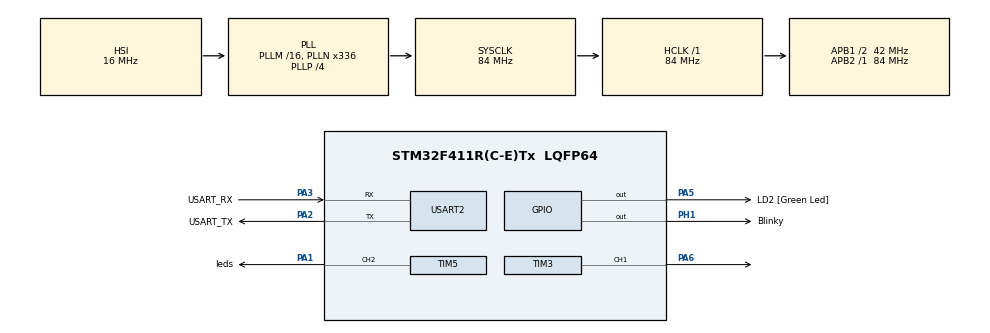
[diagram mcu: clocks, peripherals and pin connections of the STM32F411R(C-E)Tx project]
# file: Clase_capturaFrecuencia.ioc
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Dma.Request0=TIM5_CH2
Dma.TIM5_CH2.0.Direction=DMA_PERIPH_TO_MEMORY
Dma.TIM5_CH2.0.FIFOMode=DMA_FIFOMODE_DISABLE
Dma.TIM5_CH2.0.Instance=DMA1_Stream4
Dma.TIM5_CH2.0.MemDataAlignment=DMA_MDATAALIGN_WORD
Dma.TIM5_CH2.0.MemInc=DMA_MINC_ENABLE
Dma.TIM5_CH2.0.Mode=DMA_NORMAL
Dma.TIM5_CH2.0.PeriphDataAlignment=DMA_PDATAALIGN_WORD
Dma.TIM5_CH2.0.PeriphInc=DMA_PINC_DISABLE
Dma.TIM5_CH2.0.Priority=DMA_PRIORITY_LOW
Mcu.Family=STM32F4
Mcu.Name=STM32F411R(C-E)Tx
Mcu.Package=LQFP64
NVIC.DMA1_Stream4_IRQn=true\:0\:0\:false\:false\:true\:false\:true\:true
NVIC.PriorityGroup=NVIC_PRIORITYGROUP_0
NVIC.TIM2_IRQn=true\:0\:0\:false\:false\:true\:true\:true\:true
NVIC.TIM3_IRQn=true\:0\:0\:false\:false\:true\:true\:true\:true
PA1.GPIO_Label=leds
PA1.Signal=S_TIM5_CH2
PA13.GPIO_Label=TMS
PA13.Mode=Serial_Wire
PA13.Signal=SYS_JTMS-SWDIO
PA14.GPIO_Label=TCK
PA14.Mode=Serial_Wire
PA14.Signal=SYS_JTCK-SWCLK
PA2.GPIO_Label=USART_TX
PA2.Mode=Asynchronous
PA2.Signal=USART2_TX
PA3.GPIO_Label=USART_RX
PA3.Mode=Asynchronous
PA3.Signal=USART2_RX
PA5.GPIO_Label=LD2 [Green Led]
PA5.Signal=GPIO_Output
PA6.Signal=S_TIM3_CH1
PB3.GPIO_Label=SWO
PB3.Signal=SYS_JTDO-SWO
PH1\ -\ OSC_OUT.GPIO_Label=Blinky
PH1\ -\ OSC_OUT.Signal=GPIO_Output
ProjectManager.HeapSize=0x200
ProjectManager.StackSize=0x400
ProjectManager.TargetToolchain=STM32CubeIDE
RCC.48MHZClocksFreq_Value=84000000
RCC.AHBFreq_Value=84000000
RCC.APB1CLKDivider=RCC_HCLK_DIV2
RCC.APB1Freq_Value=42000000
RCC.APB1TimFreq_Value=84000000
RCC.APB2Freq_Value=84000000
RCC.APB2TimFreq_Value=84000000
RCC.CortexFreq_Value=84000000
RCC.FLatency-AdvancedSettings=FLASH_LATENCY_2
RCC.HCLKFreq_Value=84000000
RCC.HSE_VALUE=8000000
RCC.HSI_VALUE=16000000
RCC.LSE_VALUE=32768
RCC.PLLN=336
RCC.PLLP=RCC_PLLP_DIV4
RCC.SYSCLKFreq_VALUE=84000000
RCC.SYSCLKSource=RCC_SYSCLKSOURCE_PLLCLK
RCC.VCOOutputFreq_Value=336000000
SH.S_TIM3_CH1.0=TIM3_CH1,PWM Generation1 CH1
SH.S_TIM5_CH2.0=TIM5_CH2,PWM Generation2 CH2
TIM2.Period=2500
TIM2.Prescaler=1000
TIM3.Channel-PWM\ Generation1\ CH1=TIM_CHANNEL_1
TIM5.Channel-PWM\ Generation2\ CH2=TIM_CHANNEL_2
TIM5.Period=45
TIM5.Prescaler=0
TIM5.Pulse-PWM\ Generation2\ CH2=40
USART2.VirtualMode=VM_ASYNC
VP_TIM2_VS_ClockSourceINT.Mode=Internal
VP_TIM3_VS_ClockSourceINT.Mode=Internal
VP_TIM5_VS_ClockSourceINT.Mode=Internal
board=NUCLEO-F411RE

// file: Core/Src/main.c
/* USER CODE BEGIN Header */
/**
  ******************************************************************************
  * @file           : main.c
  * @brief          : Main program body
  ******************************************************************************
  * @attention
  *
  * Copyright (c) 2025 STMicroelectronics.
  * All rights reserved.
  *
  * This software is licensed under terms that can be found in the LICENSE file
  * in the root directory of this software component.
  * If no LICENSE file comes with this software, it is provided AS-IS.
  *
  ******************************************************************************
  */
/* USER CODE END Header */
#include "main.h"

/* USER CODE BEGIN Includes */
#include "stdio.h"
#include "string.h"

/* USER CODE END Includes */

TIM_HandleTypeDef htim2;
TIM_HandleTypeDef htim3;
TIM_HandleTypeDef htim5;
DMA_HandleTypeDef hdma_tim5_ch2;

UART_HandleTypeDef huart2;

/* USER CODE BEGIN PV */
#define NUM_LEDS        60
#define BITS_PER_LED    24
#define RESET_SLOTS     50
#define LED_BUFFER_SIZE ((NUM_LEDS * BITS_PER_LED) + RESET_SLOTS)

#define WS2812_FREQ     800000
#define TIMER_FREQ      72000000
#define TIM_PERIOD      (TIMER_FREQ / WS2812_FREQ)

#define T1H             (TIM_PERIOD * 2 / 3)  // Lógica '1'
#define T0H             (TIM_PERIOD * 1 / 3)  // Lógica '0'

extern TIM_HandleTypeDef htim5;

uint16_t pwmData[LED_BUFFER_SIZE];

/* USER CODE END PV */

void SystemClock_Config(void);
static void MX_GPIO_Init(void);
static void MX_DMA_Init(void);
static void MX_USART2_UART_Init(void);
static void MX_TIM2_Init(void);
static void MX_TIM3_Init(void);
static void MX_TIM5_Init(void);
/* USER CODE BEGIN PFP */
void set_led_color(uint8_t r, uint8_t g, uint8_t b, int led_index);
void show_leds(void);

/* USER CODE END PFP */

int main(void)
{

  /* MCU Configuration--------------------------------------------------------*/

  /* Reset of all peripherals, Initializes the Flash interface and the Systick. */
  HAL_Init();

  /* Configure the system clock */
  SystemClock_Config();

  /* Initialize all configured peripherals */
  MX_GPIO_Init();
  MX_DMA_Init();
  MX_USART2_UART_Init();
  MX_TIM2_Init();
  MX_TIM3_Init();
  MX_TIM5_Init();
  /* USER CODE BEGIN 2 */
  HAL_TIM_Base_Start_IT(&htim2);
  HAL_TIM_Base_Start(&htim5);
  HAL_TIM_PWM_Start(&htim5, TIM_CHANNEL_2);

  // Ejemplo: alternar colores en 60 LEDs
    for (int i = 0; i < NUM_LEDS; i++) {
        if (i % 3 == 0)
            set_led_color(255, 0, 0, i);  // Rojo
        else if (i % 3 == 1)
            set_led_color(0, 255, 0, i);  // Verde
        else
            set_led_color(0, 0, 255, i);  // Azul
    }

    show_leds();
  /* USER CODE END 2 */

  /* Infinite loop */
  /* USER CODE BEGIN WHILE */
  while (1)
  {
	  HAL_Delay(1000);
    /* USER CODE END WHILE */

  }
}

void SystemClock_Config(void)
{
  RCC_OscInitTypeDef RCC_OscInitStruct = {0};
  RCC_ClkInitTypeDef RCC_ClkInitStruct = {0};

  /** Configure the main internal regulator output voltage
  */
  __HAL_RCC_PWR_CLK_ENABLE();
  __HAL_PWR_VOLTAGESCALING_CONFIG(PWR_REGULATOR_VOLTAGE_SCALE1);

  /** Initializes the RCC Oscillators according to the specified parameters
  * in the RCC_OscInitTypeDef structure.
  */
  RCC_OscInitStruct.OscillatorType = RCC_OSCILLATORTYPE_HSI;
  RCC_OscInitStruct.HSIState = RCC_HSI_ON;
  RCC_OscInitStruct.HSICalibrationValue = RCC_HSICALIBRATION_DEFAULT;
  RCC_OscInitStruct.PLL.PLLState = RCC_PLL_ON;
  RCC_OscInitStruct.PLL.PLLSource = RCC_PLLSOURCE_HSI;
  RCC_OscInitStruct.PLL.PLLM = 16;
  RCC_OscInitStruct.PLL.PLLN = 336;
  RCC_OscInitStruct.PLL.PLLP = RCC_PLLP_DIV4;
  RCC_OscInitStruct.PLL.PLLQ = 4;
  if (HAL_RCC_OscConfig(&RCC_OscInitStruct) != HAL_OK)
  {
    Error_Handler();
  }

  /** Initializes the CPU, AHB and APB buses clocks
  */
  RCC_ClkInitStruct.ClockType = RCC_CLOCKTYPE_HCLK|RCC_CLOCKTYPE_SYSCLK
                              |RCC_CLOCKTYPE_PCLK1|RCC_CLOCKTYPE_PCLK2;
  RCC_ClkInitStruct.SYSCLKSource = RCC_SYSCLKSOURCE_PLLCLK;
  RCC_ClkInitStruct.AHBCLKDivider = RCC_SYSCLK_DIV1;
  RCC_ClkInitStruct.APB1CLKDivider = RCC_HCLK_DIV2;
  RCC_ClkInitStruct.APB2CLKDivider = RCC_HCLK_DIV1;

  if (HAL_RCC_ClockConfig(&RCC_ClkInitStruct, FLASH_LATENCY_2) != HAL_OK)
  {
    Error_Handler();
  }
}

static void MX_TIM2_Init(void)
{

  TIM_ClockConfigTypeDef sClockSourceConfig = {0};
  TIM_MasterConfigTypeDef sMasterConfig = {0};

  htim2.Instance = TIM2;
  htim2.Init.Prescaler = 1000;
  htim2.Init.CounterMode = TIM_COUNTERMODE_UP;
  htim2.Init.Period = 2500;
  htim2.Init.ClockDivision = TIM_CLOCKDIVISION_DIV1;
  htim2.Init.AutoReloadPreload = TIM_AUTORELOAD_PRELOAD_DISABLE;
  if (HAL_TIM_Base_Init(&htim2) != HAL_OK)
  {
    Error_Handler();
  }
  sClockSourceConfig.ClockSource = TIM_CLOCKSOURCE_INTERNAL;
  if (HAL_TIM_ConfigClockSource(&htim2, &sClockSourceConfig) != HAL_OK)
  {
    Error_Handler();
  }
  sMasterConfig.MasterOutputTrigger = TIM_TRGO_RESET;
  sMasterConfig.MasterSlaveMode = TIM_MASTERSLAVEMODE_DISABLE;
  if (HAL_TIMEx_MasterConfigSynchronization(&htim2, &sMasterConfig) != HAL_OK)
  {
    Error_Handler();
  }

}

static void MX_TIM3_Init(void)
{

  TIM_ClockConfigTypeDef sClockSourceConfig = {0};
  TIM_MasterConfigTypeDef sMasterConfig = {0};
  TIM_OC_InitTypeDef sConfigOC = {0};

  htim3.Instance = TIM3;
  htim3.Init.Prescaler = 0;
  htim3.Init.CounterMode = TIM_COUNTERMODE_UP;
  htim3.Init.Period = 65535;
  htim3.Init.ClockDivision = TIM_CLOCKDIVISION_DIV1;
  htim3.Init.AutoReloadPreload = TIM_AUTORELOAD_PRELOAD_DISABLE;
  if (HAL_TIM_Base_Init(&htim3) != HAL_OK)
  {
    Error_Handler();
  }
  sClockSourceConfig.ClockSource = TIM_CLOCKSOURCE_INTERNAL;
  if (HAL_TIM_ConfigClockSource(&htim3, &sClockSourceConfig) != HAL_OK)
  {
    Error_Handler();
  }
  if (HAL_TIM_PWM_Init(&htim3) != HAL_OK)
  {
    Error_Handler();
  }
  sMasterConfig.MasterOutputTrigger = TIM_TRGO_RESET;
  sMasterConfig.MasterSlaveMode = TIM_MASTERSLAVEMODE_DISABLE;
  if (HAL_TIMEx_MasterConfigSynchronization(&htim3, &sMasterConfig) != HAL_OK)
  {
    Error_Handler();
  }
  sConfigOC.OCMode = TIM_OCMODE_PWM1;
  sConfigOC.Pulse = 0;
  sConfigOC.OCPolarity = TIM_OCPOLARITY_HIGH;
  sConfigOC.OCFastMode = TIM_OCFAST_DISABLE;
  if (HAL_TIM_PWM_ConfigChannel(&htim3, &sConfigOC, TIM_CHANNEL_1) != HAL_OK)
  {
    Error_Handler();
  }
  HAL_TIM_MspPostInit(&htim3);

}

static void MX_TIM5_Init(void)
{

  TIM_ClockConfigTypeDef sClockSourceConfig = {0};
  TIM_MasterConfigTypeDef sMasterConfig = {0};
  TIM_OC_InitTypeDef sConfigOC = {0};

  htim5.Instance = TIM5;
  htim5.Init.Prescaler = 0;
  htim5.Init.CounterMode = TIM_COUNTERMODE_UP;
  htim5.Init.Period = 45;
  htim5.Init.ClockDivision = TIM_CLOCKDIVISION_DIV1;
  htim5.Init.AutoReloadPreload = TIM_AUTORELOAD_PRELOAD_DISABLE;
  if (HAL_TIM_Base_Init(&htim5) != HAL_OK)
  {
    Error_Handler();
  }
  sClockSourceConfig.ClockSource = TIM_CLOCKSOURCE_INTERNAL;
  if (HAL_TIM_ConfigClockSource(&htim5, &sClockSourceConfig) != HAL_OK)
  {
    Error_Handler();
  }
  if (HAL_TIM_PWM_Init(&htim5) != HAL_OK)
  {
    Error_Handler();
  }
  sMasterConfig.MasterOutputTrigger = TIM_TRGO_RESET;
  sMasterConfig.MasterSlaveMode = TIM_MASTERSLAVEMODE_DISABLE;
  if (HAL_TIMEx_MasterConfigSynchronization(&htim5, &sMasterConfig) != HAL_OK)
  {
    Error_Handler();
  }
  sConfigOC.OCMode = TIM_OCMODE_PWM1;
  sConfigOC.Pulse = 40;
  sConfigOC.OCPolarity = TIM_OCPOLARITY_HIGH;
  sConfigOC.OCFastMode = TIM_OCFAST_DISABLE;
  if (HAL_TIM_PWM_ConfigChannel(&htim5, &sConfigOC, TIM_CHANNEL_2) != HAL_OK)
  {
    Error_Handler();
  }
  HAL_TIM_MspPostInit(&htim5);

}

static void MX_USART2_UART_Init(void)
{

  huart2.Instance = USART2;
  huart2.Init.BaudRate = 115200;
  huart2.Init.WordLength = UART_WORDLENGTH_8B;
  huart2.Init.StopBits = UART_STOPBITS_1;
  huart2.Init.Parity = UART_PARITY_NONE;
  huart2.Init.Mode = UART_MODE_TX_RX;
  huart2.Init.HwFlowCtl = UART_HWCONTROL_NONE;
  huart2.Init.OverSampling = UART_OVERSAMPLING_16;
  if (HAL_UART_Init(&huart2) != HAL_OK)
  {
    Error_Handler();
  }

}

static void MX_DMA_Init(void)
{

  /* DMA controller clock enable */
  __HAL_RCC_DMA1_CLK_ENABLE();

  /* DMA interrupt init */
  /* DMA1_Stream4_IRQn interrupt configuration */
  HAL_NVIC_SetPriority(DMA1_Stream4_IRQn, 0, 0);
  HAL_NVIC_EnableIRQ(DMA1_Stream4_IRQn);

}

static void MX_GPIO_Init(void)
{
  GPIO_InitTypeDef GPIO_InitStruct = {0};

  /* GPIO Ports Clock Enable */
  __HAL_RCC_GPIOH_CLK_ENABLE();
  __HAL_RCC_GPIOA_CLK_ENABLE();
  __HAL_RCC_GPIOB_CLK_ENABLE();

  /*Configure GPIO pin Output Level */
  HAL_GPIO_WritePin(Blinky_GPIO_Port, Blinky_Pin, GPIO_PIN_RESET);

  /*Configure GPIO pin Output Level */
  HAL_GPIO_WritePin(LD2_GPIO_Port, LD2_Pin, GPIO_PIN_RESET);

  /*Configure GPIO pin : Blinky_Pin */
  GPIO_InitStruct.Pin = Blinky_Pin;
  GPIO_InitStruct.Mode = GPIO_MODE_OUTPUT_PP;
  GPIO_InitStruct.Pull = GPIO_NOPULL;
  GPIO_InitStruct.Speed = GPIO_SPEED_FREQ_LOW;
  HAL_GPIO_Init(Blinky_GPIO_Port, &GPIO_InitStruct);

  /*Configure GPIO pin : LD2_Pin */
  GPIO_InitStruct.Pin = LD2_Pin;
  GPIO_InitStruct.Mode = GPIO_MODE_OUTPUT_PP;
  GPIO_InitStruct.Pull = GPIO_NOPULL;
  GPIO_InitStruct.Speed = GPIO_SPEED_FREQ_LOW;
  HAL_GPIO_Init(LD2_GPIO_Port, &GPIO_InitStruct);

}

/* USER CODE BEGIN 4 */
void set_led_color(uint8_t r, uint8_t g, uint8_t b, int led_index) {
    uint32_t color = (g << 16) | (r << 8) | b;

    for (int i = 0; i < BITS_PER_LED; i++) {
        if (color & (1 << (23 - i))) {
            pwmData[led_index * BITS_PER_LED + i] = T1H;
        } else {
            pwmData[led_index * BITS_PER_LED + i] = T0H;
        }
    }
}

// Enviar el buffer por DMA
void show_leds(void) {
    for (int i = NUM_LEDS * BITS_PER_LED; i < LED_BUFFER_SIZE; i++) {
        pwmData[i] = 0; // Pulso bajo para reset
    }

    HAL_TIM_PWM_Start_DMA(&htim5, TIM_CHANNEL_2, (uint32_t *)pwmData, LED_BUFFER_SIZE);
    HAL_Delay(1); // Tiempo mínimo de reset
}
void HAL_TIM_PeriodElapsedCallback(TIM_HandleTypeDef *htim){
	if (htim->Instance ==TIM2){
		//Encendemos o apagamos el led
		HAL_GPIO_TogglePin(Blinky_GPIO_Port, Blinky_Pin);
	}
}

/* USER CODE END 4 */

void Error_Handler(void)
{
  __disable_irq();
  while (1)
  {
  }
}
